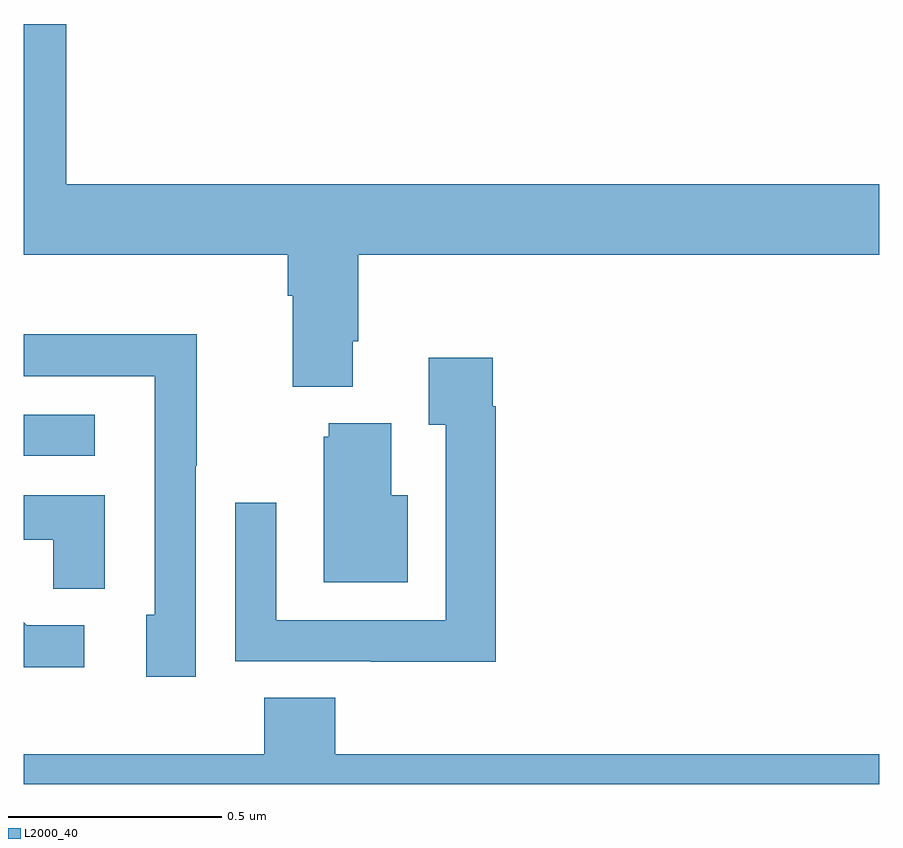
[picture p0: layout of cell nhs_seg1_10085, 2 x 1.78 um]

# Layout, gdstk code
import gdstk
lib = gdstk.Library(unit=1e-6, precision=1e-09)
def R(c, l, rs):  # rectangles x0, y0, x1, y1
    for r in rs: c.add(gdstk.rectangle(r[:2], r[2:], *l))
def P(c, l, *ps):  # polygons
    for p in ps: c.add(gdstk.Polygon(p, *l))
L2000_40 = (2000, 40)

nhs_seg1_10085 = lib.new_cell('nhs_seg1_10085')
R(nhs_seg1_10085, L2000_40, [(237,513.966,237.166,514.062)])
P(nhs_seg1_10085, L2000_40, [(237.769,514.234),(237.782,514.234),(237.782,514.436),(239,514.436),(239,514.6),(237.1,514.6),(237.1,514.975),(237,514.975),(237,514.436),(237.617,514.436),(237.617,514.34),(237.629,514.34),(237.629,514.127),(237.769,514.127)],
  [(237.402,513.943),(237.405,513.943),(237.405,514.25),(237,514.25),(237,514.152),(237.306,514.152),(237.306,513.594),(237.287,513.594),(237.287,513.45),(237.402,513.45)],
  [(238.103,514.082),(238.096,514.082),(238.096,514.195),(237.947,514.195),(237.947,514.039),(237.987,514.039),(237.987,513.582),(237.591,513.582),(237.591,513.856),(237.495,513.856),(237.495,513.486),(237.811,513.486),(237.811,513.485),(238.103,513.485)],
  [(237.898,513.874),(237.859,513.874),(237.859,514.042),(237.713,514.042),(237.713,514.011),(237.701,514.011),(237.701,513.671),(237.898,513.671)],
  [(237.19,513.874),(237,513.874),(237,513.77),(237.069,513.77),(237.069,513.655),(237.19,513.655)],
  [(237.142,513.57),(237.007,513.57),(237,513.577),(237,513.472),(237.142,513.472)],
  [(239,513.268),(237.728,513.268),(237.728,513.401),(237.563,513.401),(237.563,513.268),(237,513.268),(237,513.199),(239,513.199)])

lib.write_gds('nhs_seg1_10085.gds')
